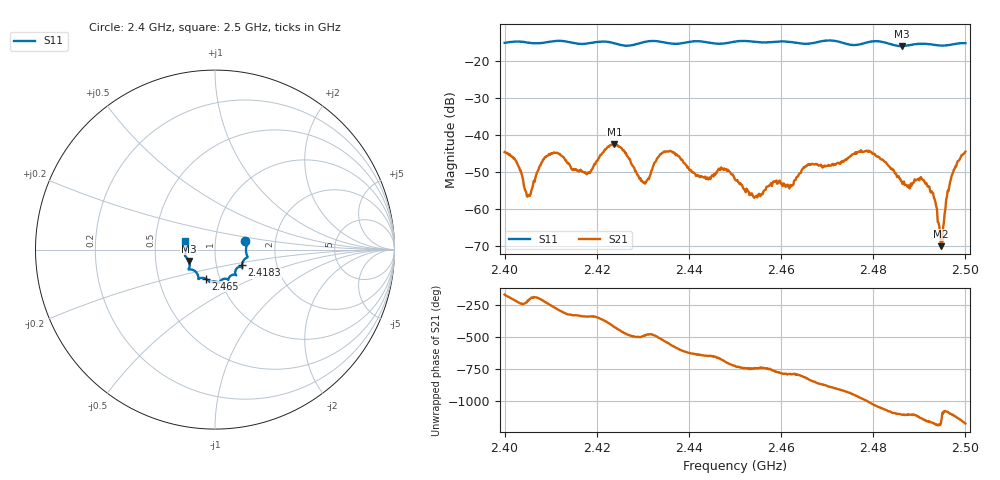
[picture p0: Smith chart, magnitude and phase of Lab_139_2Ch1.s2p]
# Hz S RI R 50
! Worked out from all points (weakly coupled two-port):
!   601 points, 2.4 GHz to 2.5 GHz, reference 50 ohm
!   highest |S21| = -42.59 dB at 2.4238 GHz (marker M1); lowest = -70.1 dB at 2.4947 GHz (marker M2)
!   lowest |S11| = -16.0 dB at 2.4862 GHz (marker M3), VSWR 1.38, Z = 37.1 - j4.81 ohm
!   |S11| at or under -10 dB: start of sweep to end of sweep
!   S12 and S22 are empty: the file has one direction only
!   S11 on the Smith chart (normalised r, x): 2.4 GHz: 1.40, +0.13; 2.4183 GHz: 1.33, -0.24; 2.465 GHz: 0.86, -0.29; 2.5 GHz: 0.71, +0.07
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2.4e9  0.1692 0.0454  -0.00574 -0.00104  0 0  0 0
2.402667e9  0.1796 0.0336  -0.00304 0.00288  0 0  0 0
2.405167e9  0.1753 0.0172  -0.00121 0.000907  0 0  0 0
2.410167e9  0.1795 -0.0354  -0.00118 0.00538  0 0  0 0
2.416667e9  0.1549 -0.0683  0.00298 0.0013  0 0  0 0
2.418333e9  0.1499 -0.0869  0.00289 0.00102  0 0  0 0
2.423833e9  0.1439 -0.0966  0.00346 -0.00656  0 0  0 0
2.430167e9  0.1142 -0.138  -0.00153 -0.00165  0 0  0 0
2.433333e9  0.1169 -0.1414  -0.00404 -0.00294  0 0  0 0
2.45e9  0.0252 -0.1806  0.00248 -0.000133  0 0  0 0
2.4545e9  0.011 -0.1798  0.00133 -0.00063  0 0  0 0
2.462167e9  -0.0331 -0.1764  0.000662 -0.00188  0 0  0 0
2.465e9  -0.0527 -0.162  -0.000112 -0.00366  0 0  0 0
2.466667e9  -0.0713 -0.1576  -0.00206 -0.00346  0 0  0 0
2.478833e9  -0.1404 -0.1104  0.00113 0.00577  0 0  0 0
2.483333e9  -0.142 -0.0959  0.00378 0.000139  0 0  0 0
2.486167e9  -0.1447 -0.0632  0.00214 -0.000967  0 0  0 0
2.491667e9  -0.1668 -0.0299  0.000554 -0.00202  0 0  0 0
2.493333e9  -0.1635 -0.016  -0.000133 -0.00134  0 0  0 0
2.494667e9  -0.1608 0.000134  -2.26e-05 -0.00031  0 0  0 0
2.497167e9  -0.1642 0.0289  0.00263 -0.00126  0 0  0 0
2.5e9  -0.1669 0.0475  -0.000236 -0.00591  0 0  0 0
